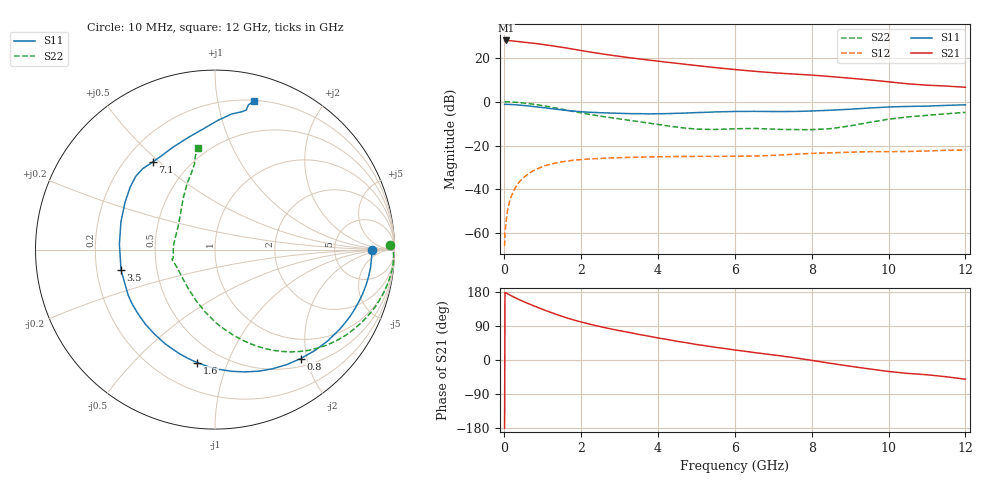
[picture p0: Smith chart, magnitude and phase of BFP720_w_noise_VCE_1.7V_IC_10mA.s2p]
! Infineon Technologies  Discrete & RF Semiconductors
! BFP720
! VCE =  1.7 V,  IC =  10 mA
! Common Emitter S-Parameters:  Aug 2012
# GHz  S  MA  R  50
!  f  S11  S21  S12  S22
! GHz  MAG  ANG  MAG  ANG  MAG  ANG  MAG  ANG
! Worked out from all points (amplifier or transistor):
!   105 points, 10 MHz to 12 GHz, reference 50 ohm
!   highest |S21| = 28.0 dB at 50 MHz (marker M1)
!   |S21| within 3 dB of that: start of sweep to 1.45 GHz
!   unconditionally stable (mu >= 1): start of sweep to 11.53 MHz; 5.556 GHz to 11.38 GHz
!   at 300 MHz: K = 0.08, MSG = 33.3 dB, |S12| = -38.9 dB
!   at 3.6 GHz: K = 0.70, MSG = 22.4 dB, |S12| = -25.3 dB
!   at 12 GHz: K = 0.84, MSG = 14.3 dB, |S12| = -22.1 dB
!   lowest NFmin = 0.53 dB at 450 MHz
!   S11 on the Smith chart (normalised r, x): 10 MHz: 15, +0; 800 MHz: 0.63, -1.89; 1.6 GHz: 0.37, -0.78; 3.5 GHz: 0.31, -0.10; 7.1 GHz: 0.31, +0.48; 12 GHz: 0.21, +1.27
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0.01  0.8725 -0.0  24.9 -179.8  0.0005 -12.6  0.9731 1.5
0.02  0.8752 -1.3  24.96 178.4  0.001 98.4  0.9944 -0.6
0.05  0.8731 -3.4  25.25 176.8  0.0018 83.8  0.9954 -2.0
0.25  0.8588 -16.6  24.47 166.0  0.0094 81.3  0.9818 -11.0
0.4  0.8396 -26.3  23.66 158.8  0.0149 75.2  0.9572 -17.4
0.6  0.8082 -39.0  22.59 150.0  0.0216 68.4  0.9173 -25.5
0.8  0.7724 -51.8  21.62 141.6  0.0277 61.9  0.8714 -33.2
1  0.7374 -64.2  20.47 133.7  0.0329 55.8  0.8177 -40.7
1.2  0.7014 -76.3  19.33 126.1  0.0373 50.1  0.7618 -47.6
1.6  0.6372 -99.0  17.07 112.0  0.0437 40.5  0.6515 -59.6
1.8  0.6129 -108.8  15.94 105.9  0.046 36.5  0.6016 -64.9
2.1  0.5849 -121.8  14.39 97.8  0.0484 31.5  0.5381 -71.8
2.4  0.5682 -133.1  13.04 90.3  0.0503 27.4  0.4857 -78.1
2.8  0.5525 -146.2  11.56 81.5  0.0521 23.0  0.4303 -85.7
3.5  0.536 -167.6  9.596 67.5  0.0542 17.1  0.3525 -98.8
4.1  0.5338 174.0  8.3 56.5  0.0554 13.3  0.2947 -112.6
5  0.5664 152.2  6.739 40.9  0.0564 8.5  0.2386 -141.0
6.1  0.6016 136.2  5.366 25.2  0.057 5.8  0.2423 -164.5
7.1  0.599 125.3  4.553 12.1  0.0601 5.5  0.2351 -171.8
8.5  0.6418 103.6  3.77 -8.9  0.0682 -0.2  0.2432 147.5
10.5  0.783 78.9  2.577 -35.3  0.073 -10.1  0.4511 106.7
12  0.8542 75.4  2.147 -50.7  0.0789 -17.4  0.5727 99.7
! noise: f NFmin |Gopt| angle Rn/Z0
0.45  0.53  0.29  1  0.21
1.8  0.58  0.26  18  0.12
2.4  0.64  0.23  38  0.29
5.5  0.78  0.11  20  0.14
10  0.97  0.4  -78  0.22
